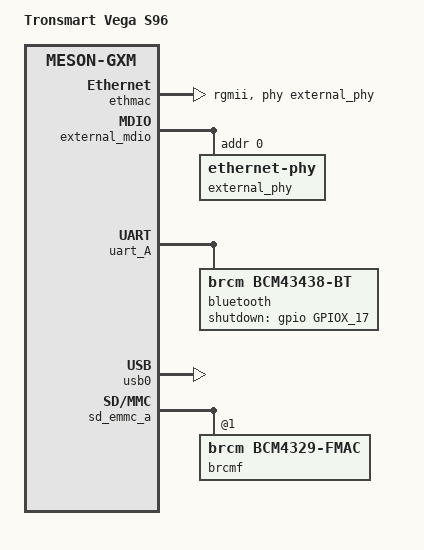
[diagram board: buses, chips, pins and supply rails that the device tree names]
// SPDX-License-Identifier: (GPL-2.0+ OR MIT)
/*
 * Copyright (c) 2017 BayLibre, SAS.
 * Author: Neil Armstrong <narmstrong@baylibre.com>
 * Copyright (c) 2017 Oleg <balbes-150@yandex.ru>
 */

/dts-v1/;

#include <dt-bindings/input/input.h>

#include "meson-gxm.dtsi"
#include "meson-gx-p23x-q20x.dtsi"

/ {
	compatible = "tronsmart,vega-s96", "amlogic,s912", "amlogic,meson-gxm";
	model = "Tronsmart Vega S96";

	aliases {
		serial1 = &uart_A;
	};

	chosen {
		stdout-path = "serial0:115200n8";
	};
};

&ethmac {
	pinctrl-0 = <&eth_pins>;
	pinctrl-names = "default";

	/* Select external PHY by default */
	phy-handle = <&external_phy>;

	amlogic,tx-delay-ns = <2>;

	/* External PHY is in RGMII */
	phy-mode = "rgmii";
};

&external_mdio {
	external_phy: ethernet-phy@0 {
		/* Realtek RTL8211F (0x001cc916) */
		reg = <0>;
	};
};

/* This one is connected to the Bluetooth module */
&uart_A {
	status = "okay";
	pinctrl-0 = <&uart_a_pins>;
	pinctrl-names = "default";

	bluetooth {
		compatible = "brcm,bcm43438-bt";
		shutdown-gpios = <&gpio GPIOX_17 GPIO_ACTIVE_HIGH>;
	};
};

&usb0 {
	status = "okay";
};

&sd_emmc_a {
	brcmf: wifi@1 {
		reg = <1>;
		compatible = "brcm,bcm4329-fmac";
	};
};
